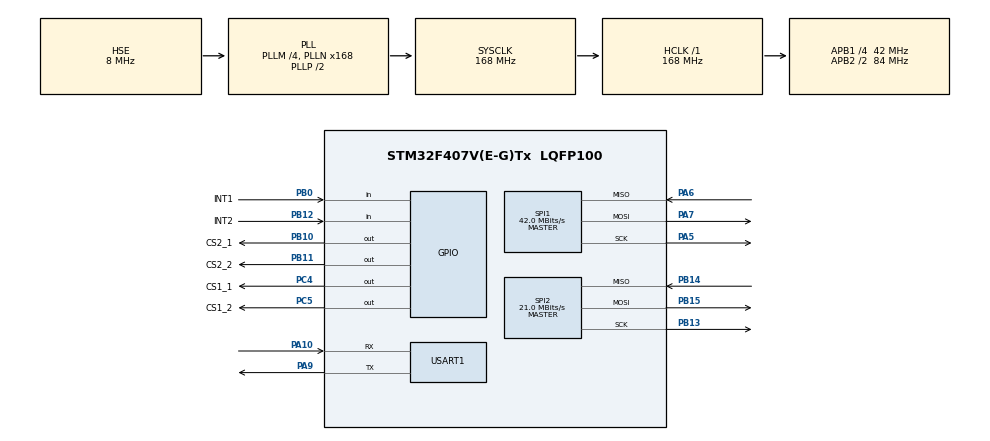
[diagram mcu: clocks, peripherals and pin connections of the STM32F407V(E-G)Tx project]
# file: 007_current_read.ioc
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Mcu.Family=STM32F4
Mcu.Name=STM32F407V(E-G)Tx
Mcu.Package=LQFP100
NVIC.PriorityGroup=NVIC_PRIORITYGROUP_4
PA10.Mode=Asynchronous
PA10.Signal=USART1_RX
PA5.Mode=Full_Duplex_Master
PA5.Signal=SPI1_SCK
PA6.Mode=Full_Duplex_Master
PA6.Signal=SPI1_MISO
PA7.Mode=Full_Duplex_Master
PA7.Signal=SPI1_MOSI
PA9.Mode=Asynchronous
PA9.Signal=USART1_TX
PB0.GPIO_Label=INT1
PB0.Signal=GPIO_Input
PB10.GPIO_Label=CS2_1
PB10.Signal=GPIO_Output
PB11.GPIO_Label=CS2_2
PB11.Signal=GPIO_Output
PB12.GPIO_Label=INT2
PB12.Signal=GPIO_Input
PB13.Mode=Full_Duplex_Master
PB13.Signal=SPI2_SCK
PB14.Mode=Full_Duplex_Master
PB14.Signal=SPI2_MISO
PB15.Mode=Full_Duplex_Master
PB15.Signal=SPI2_MOSI
PC4.GPIO_Label=CS1_1
PC4.Signal=GPIO_Output
PC5.GPIO_Label=CS1_2
PC5.Signal=GPIO_Output
PH0-OSC_IN.Mode=HSE-External-Oscillator
PH0-OSC_IN.Signal=RCC_OSC_IN
PH1-OSC_OUT.Mode=HSE-External-Oscillator
PH1-OSC_OUT.Signal=RCC_OSC_OUT
ProjectManager.HeapSize=0x200
ProjectManager.StackSize=0x400
ProjectManager.TargetToolchain=STM32CubeIDE
RCC.48MHZClocksFreq_Value=84000000
RCC.AHBFreq_Value=168000000
RCC.APB1CLKDivider=RCC_HCLK_DIV4
RCC.APB1Freq_Value=42000000
RCC.APB1TimFreq_Value=84000000
RCC.APB2CLKDivider=RCC_HCLK_DIV2
RCC.APB2Freq_Value=84000000
RCC.APB2TimFreq_Value=168000000
RCC.CortexFreq_Value=168000000
RCC.HCLKFreq_Value=168000000
RCC.HSE_VALUE=8000000
RCC.HSI_VALUE=16000000
RCC.LSE_VALUE=32768
RCC.PLLM=4
RCC.PLLN=168
RCC.PLLSourceVirtual=RCC_PLLSOURCE_HSE
RCC.SYSCLKFreq_VALUE=168000000
RCC.SYSCLKSource=RCC_SYSCLKSOURCE_PLLCLK
RCC.VCOOutputFreq_Value=336000000
SPI1.BaudRatePrescaler=SPI_BAUDRATEPRESCALER_2
SPI1.CalculateBaudRate=42.0 MBits/s
SPI1.Direction=SPI_DIRECTION_2LINES
SPI1.Mode=SPI_MODE_MASTER
SPI1.VirtualType=VM_MASTER
SPI2.BaudRatePrescaler=SPI_BAUDRATEPRESCALER_2
SPI2.CalculateBaudRate=21.0 MBits/s
SPI2.Direction=SPI_DIRECTION_2LINES
SPI2.Mode=SPI_MODE_MASTER
SPI2.VirtualType=VM_MASTER
USART1.VirtualMode=VM_ASYNC
board=custom

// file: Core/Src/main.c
/* USER CODE BEGIN Header */
/**
  ******************************************************************************
  * @file           : main.c
  * @brief          : Main program body
  ******************************************************************************
  * @attention
  *
  * Copyright (c) 2025 STMicroelectronics.
  * All rights reserved.
  *
  * This software is licensed under terms that can be found in the LICENSE file
  * in the root directory of this software component.
  * If no LICENSE file comes with this software, it is provided AS-IS.
  *
  ******************************************************************************
  */
/* USER CODE END Header */
#include "main.h"

/* USER CODE BEGIN Includes */

#include "maxrefdes24.h"
#include "maxrefdes24_spi_stm.h"
#include "stdio.h"
#include <string.h>
#include "uart_cmd.h"

/* USER CODE END Includes */

/* USER CODE BEGIN PD */

#define RED  "\x1B[31m"
#define GRN  "\x1B[32m"

#define RST  "\033[0m"

/* USER CODE END PD */

/* USER CODE BEGIN PM */

#ifndef STDIN_FILENO
#define STDIN_FILENO 0
#endif

#ifndef STDOUT_FILENO
#define STDOUT_FILENO 1
#endif

#ifndef STDERR_FILENO
#define STDERR_FILENO 2
#endif

/* USER CODE END PM */

SPI_HandleTypeDef hspi1;
SPI_HandleTypeDef hspi2;

UART_HandleTypeDef huart1;

void SystemClock_Config(void);
static void MX_GPIO_Init(void);
static void MX_SPI1_Init(void);
static void MX_SPI2_Init(void);
static void MX_USART1_UART_Init(void);

/* USER CODE BEGIN 0 */

	MAXREFDES24_Device dev1, dev2;

	int _write(int file, char *ptr, int len)
	{
		if(file==STDERR_FILENO)
		{
			HAL_UART_Transmit(&huart1, (uint8_t*)RED, strlen(RED) , HAL_MAX_DELAY);
			HAL_UART_Transmit(&huart1, (uint8_t*)ptr, len , HAL_MAX_DELAY);
			HAL_UART_Transmit(&huart1, (uint8_t*)RST, strlen(RST) , HAL_MAX_DELAY);
		}

		else if(file==STDOUT_FILENO)
		{
			HAL_UART_Transmit(&huart1, (uint8_t*)GRN, strlen(GRN) , HAL_MAX_DELAY);
			HAL_UART_Transmit(&huart1, (uint8_t*)ptr, len , HAL_MAX_DELAY);
			HAL_UART_Transmit(&huart1, (uint8_t*)RST, strlen(RST) , HAL_MAX_DELAY);
		}
		else
		{
			HAL_UART_Transmit(&huart1, (uint8_t*)ptr, len , HAL_MAX_DELAY);

		}
		return len;
	}

/* USER CODE END 0 */

int main(void)
{

  /* MCU Configuration--------------------------------------------------------*/

  /* Reset of all peripherals, Initializes the Flash interface and the Systick. */
  HAL_Init();

  /* Configure the system clock */
  SystemClock_Config();

  /* Initialize all configured peripherals */
  MX_GPIO_Init();
  MX_SPI1_Init();
  MX_SPI2_Init();
  MX_USART1_UART_Init();
  /* USER CODE BEGIN 2 */

    UartCmd_Init(&huart1);

    Retarget_InitForPrintf(&huart1);

    max24_init(&dev1,
               &hspi1,
               CS1_2_GPIO_Port, CS1_2_Pin, // DAC CS (Ör: GPIOC, GPIO_PIN_4)
               CS1_1_GPIO_Port, CS1_1_Pin  // DC/DC CS (Ör: GPIOC, GPIO_PIN_5)
               );

    max24_enableOutput(&dev1);

    max24_init(&dev2,
               &hspi2,
               CS2_2_GPIO_Port, CS2_2_Pin, // DAC CS (Ör: GPIOB, GPIO_PIN_12)
               CS2_1_GPIO_Port, CS2_1_Pin  // DC/DC CS (Ör: GPIOB, GPIO_PIN_13)
               );

    max24_enableOutput(&dev2);

  /* USER CODE END 2 */

  /* Infinite loop */
  while (1)
  {

    /* USER CODE BEGIN 3 */

	  UartCmd_Task();

	  if (g_cmd_valid)
	      {
	          uint8_t ch = g_cmd_channel;
	          float current_mA = (float)g_cmd_value / 1000.0f;  // 10000 -> 10mA

	          if (ch < 4)  // dev1
	          {
	              max24_setChannelCurrent(&dev1, ch, current_mA);
	          }
	          else        // dev2
	          {
	              max24_setChannelCurrent(&dev2, ch - 4, current_mA);
	          }

	          g_cmd_valid = 0;
	      }

  }
  /* USER CODE END 3 */
}

void SystemClock_Config(void)
{
  RCC_OscInitTypeDef RCC_OscInitStruct = {0};
  RCC_ClkInitTypeDef RCC_ClkInitStruct = {0};

  /** Configure the main internal regulator output voltage
  */
  __HAL_RCC_PWR_CLK_ENABLE();
  __HAL_PWR_VOLTAGESCALING_CONFIG(PWR_REGULATOR_VOLTAGE_SCALE1);

  /** Initializes the RCC Oscillators according to the specified parameters
  * in the RCC_OscInitTypeDef structure.
  */
  RCC_OscInitStruct.OscillatorType = RCC_OSCILLATORTYPE_HSE;
  RCC_OscInitStruct.HSEState = RCC_HSE_ON;
  RCC_OscInitStruct.PLL.PLLState = RCC_PLL_ON;
  RCC_OscInitStruct.PLL.PLLSource = RCC_PLLSOURCE_HSE;
  RCC_OscInitStruct.PLL.PLLM = 4;
  RCC_OscInitStruct.PLL.PLLN = 168;
  RCC_OscInitStruct.PLL.PLLP = RCC_PLLP_DIV2;
  RCC_OscInitStruct.PLL.PLLQ = 4;
  if (HAL_RCC_OscConfig(&RCC_OscInitStruct) != HAL_OK)
  {
    Error_Handler();
  }

  /** Initializes the CPU, AHB and APB buses clocks
  */
  RCC_ClkInitStruct.ClockType = RCC_CLOCKTYPE_HCLK|RCC_CLOCKTYPE_SYSCLK
                              |RCC_CLOCKTYPE_PCLK1|RCC_CLOCKTYPE_PCLK2;
  RCC_ClkInitStruct.SYSCLKSource = RCC_SYSCLKSOURCE_PLLCLK;
  RCC_ClkInitStruct.AHBCLKDivider = RCC_SYSCLK_DIV1;
  RCC_ClkInitStruct.APB1CLKDivider = RCC_HCLK_DIV4;
  RCC_ClkInitStruct.APB2CLKDivider = RCC_HCLK_DIV2;

  if (HAL_RCC_ClockConfig(&RCC_ClkInitStruct, FLASH_LATENCY_5) != HAL_OK)
  {
    Error_Handler();
  }
}

static void MX_SPI1_Init(void)
{

  /* SPI1 parameter configuration*/
  hspi1.Instance = SPI1;
  hspi1.Init.Mode = SPI_MODE_MASTER;
  hspi1.Init.Direction = SPI_DIRECTION_2LINES;
  hspi1.Init.DataSize = SPI_DATASIZE_8BIT;
  hspi1.Init.CLKPolarity = SPI_POLARITY_LOW;
  hspi1.Init.CLKPhase = SPI_PHASE_1EDGE;
  hspi1.Init.NSS = SPI_NSS_SOFT;
  hspi1.Init.BaudRatePrescaler = SPI_BAUDRATEPRESCALER_2;
  hspi1.Init.FirstBit = SPI_FIRSTBIT_MSB;
  hspi1.Init.TIMode = SPI_TIMODE_DISABLE;
  hspi1.Init.CRCCalculation = SPI_CRCCALCULATION_DISABLE;
  hspi1.Init.CRCPolynomial = 10;
  if (HAL_SPI_Init(&hspi1) != HAL_OK)
  {
    Error_Handler();
  }

}

static void MX_SPI2_Init(void)
{

  /* SPI2 parameter configuration*/
  hspi2.Instance = SPI2;
  hspi2.Init.Mode = SPI_MODE_MASTER;
  hspi2.Init.Direction = SPI_DIRECTION_2LINES;
  hspi2.Init.DataSize = SPI_DATASIZE_8BIT;
  hspi2.Init.CLKPolarity = SPI_POLARITY_LOW;
  hspi2.Init.CLKPhase = SPI_PHASE_1EDGE;
  hspi2.Init.NSS = SPI_NSS_SOFT;
  hspi2.Init.BaudRatePrescaler = SPI_BAUDRATEPRESCALER_2;
  hspi2.Init.FirstBit = SPI_FIRSTBIT_MSB;
  hspi2.Init.TIMode = SPI_TIMODE_DISABLE;
  hspi2.Init.CRCCalculation = SPI_CRCCALCULATION_DISABLE;
  hspi2.Init.CRCPolynomial = 10;
  if (HAL_SPI_Init(&hspi2) != HAL_OK)
  {
    Error_Handler();
  }

}

static void MX_USART1_UART_Init(void)
{

  huart1.Instance = USART1;
  huart1.Init.BaudRate = 115200;
  huart1.Init.WordLength = UART_WORDLENGTH_8B;
  huart1.Init.StopBits = UART_STOPBITS_1;
  huart1.Init.Parity = UART_PARITY_NONE;
  huart1.Init.Mode = UART_MODE_TX_RX;
  huart1.Init.HwFlowCtl = UART_HWCONTROL_NONE;
  huart1.Init.OverSampling = UART_OVERSAMPLING_16;
  if (HAL_UART_Init(&huart1) != HAL_OK)
  {
    Error_Handler();
  }

}

static void MX_GPIO_Init(void)
{
  GPIO_InitTypeDef GPIO_InitStruct = {0};

  /* GPIO Ports Clock Enable */
  __HAL_RCC_GPIOH_CLK_ENABLE();
  __HAL_RCC_GPIOA_CLK_ENABLE();
  __HAL_RCC_GPIOC_CLK_ENABLE();
  __HAL_RCC_GPIOB_CLK_ENABLE();

  /*Configure GPIO pin Output Level */
  HAL_GPIO_WritePin(GPIOC, CS1_1_Pin|CS1_2_Pin, GPIO_PIN_RESET);

  /*Configure GPIO pin Output Level */
  HAL_GPIO_WritePin(GPIOB, CS2_1_Pin|CS2_2_Pin, GPIO_PIN_RESET);

  /*Configure GPIO pins : CS1_1_Pin CS1_2_Pin */
  GPIO_InitStruct.Pin = CS1_1_Pin|CS1_2_Pin;
  GPIO_InitStruct.Mode = GPIO_MODE_OUTPUT_PP;
  GPIO_InitStruct.Pull = GPIO_NOPULL;
  GPIO_InitStruct.Speed = GPIO_SPEED_FREQ_LOW;
  HAL_GPIO_Init(GPIOC, &GPIO_InitStruct);

  /*Configure GPIO pins : INT1_Pin INT2_Pin */
  GPIO_InitStruct.Pin = INT1_Pin|INT2_Pin;
  GPIO_InitStruct.Mode = GPIO_MODE_INPUT;
  GPIO_InitStruct.Pull = GPIO_NOPULL;
  HAL_GPIO_Init(GPIOB, &GPIO_InitStruct);

  /*Configure GPIO pins : CS2_1_Pin CS2_2_Pin */
  GPIO_InitStruct.Pin = CS2_1_Pin|CS2_2_Pin;
  GPIO_InitStruct.Mode = GPIO_MODE_OUTPUT_PP;
  GPIO_InitStruct.Pull = GPIO_NOPULL;
  GPIO_InitStruct.Speed = GPIO_SPEED_FREQ_LOW;
  HAL_GPIO_Init(GPIOB, &GPIO_InitStruct);

}

void Error_Handler(void)
{
  __disable_irq();
  while (1)
  {
  }
}
